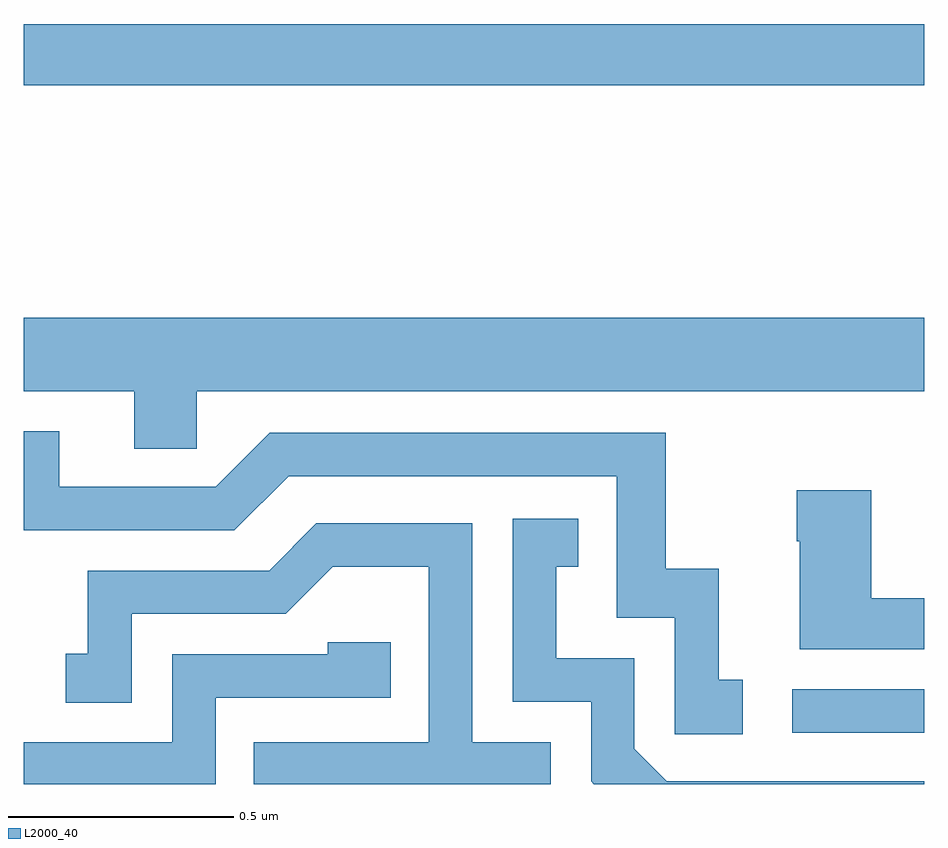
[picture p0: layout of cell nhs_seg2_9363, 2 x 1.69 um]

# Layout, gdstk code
import gdstk
lib = gdstk.Library(unit=1e-6, precision=1e-09)
def R(c, l, rs):  # rectangles x0, y0, x1, y1
    for r in rs: c.add(gdstk.rectangle(r[:2], r[2:], *l))
def P(c, l, *ps):  # polygons
    for p in ps: c.add(gdstk.Polygon(p, *l))
L2000_40 = (2000, 40)

nhs_seg2_9363 = lib.new_cell('nhs_seg2_9363')
R(nhs_seg2_9363, L2000_40, [(229.707,610.914,230,611.01), (228,612.352,230,612.488)])
P(nhs_seg2_9363, L2000_40, [(228.384,611.672),(230,611.672),(230,611.836),(228,611.836),(228,611.672),(228.245,611.672),(228.245,611.545),(228.384,611.545)],
  [(229.597,611.031),(229.544,611.031),(229.544,611.278),(229.426,611.278),(229.426,611.58),(228.546,611.58),(228.426,611.46),(228.079,611.46),(228.079,611.583),(228,611.583),(228,611.364),(228.468,611.364),(228.588,611.484),(229.317,611.484),(229.317,611.169),(229.446,611.169),(229.446,610.911),(229.597,610.911)],
  [(230,611.213),(229.882,611.213),(229.882,611.452),(229.717,611.452),(229.717,611.339),(229.724,611.339),(229.724,611.099),(230,611.099)],
  [(230,610.806),(229.428,610.806),(229.356,610.878),(229.356,611.079),(229.183,611.079),(229.183,611.283),(229.232,611.283),(229.232,611.389),(229.086,611.389),(229.086,610.983),(229.26,610.983),(229.26,610.806),(229.266,610.8),(230,610.8)],
  [(229.17,610.893),(228.996,610.893),(228.996,611.379),(228.65,611.379),(228.545,611.274),(228.142,611.274),(228.142,611.089),(228.093,611.089),(228.093,610.98),(228.24,610.98),(228.24,611.178),(228.582,611.178),(228.686,611.282),(228.9,611.282),(228.9,610.893),(228.511,610.893),(228.511,610.8),(229.17,610.8)],
  [(228.426,610.992),(228.815,610.992),(228.815,611.115),(228.675,611.115),(228.675,611.088),(228.33,611.088),(228.33,610.893),(228,610.893),(228,610.8),(228.426,610.8)])

lib.write_gds('nhs_seg2_9363.gds')
